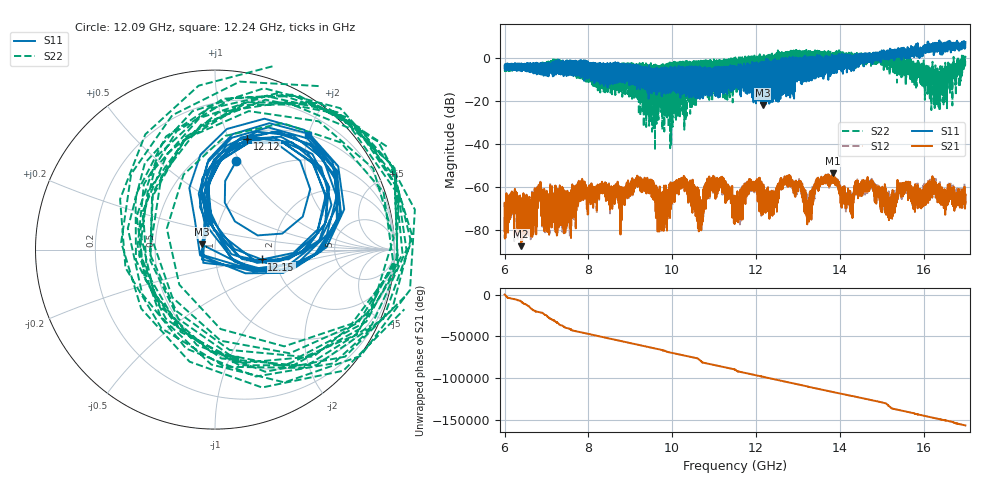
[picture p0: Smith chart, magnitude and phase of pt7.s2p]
#  HZ  S  RI  R  50.00
! Rohde & Schwarz Vector Network Analyzer
! Rohde-Schwarz,ZNA67-2Port,1332450062101215,3.01
! Created: UTC 10/26/2026, 4:12:48 PM
! freq[Hz]  re:S11  im:S11  re:S21  im:S21  re:S12  im:S12  re:S22  im:S22
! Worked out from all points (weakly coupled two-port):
!   11001 points, 6 GHz to 17 GHz, reference 50 ohm
!   highest |S21| = -53.53 dB at 13.84 GHz (marker M1); lowest = -87.5 dB at 6.395 GHz (marker M2)
!   lowest |S11| = -22.0 dB at 12.16 GHz (marker M3), VSWR 1.17, Z = 43 + j2.5 ohm
!   |S11| at or under -10 dB: 9.307976 GHz to 9.311019 GHz (3.043 MHz wide, 0.0327 % of centre); 9.680861 GHz to 9.685105 GHz (4.244 MHz wide, 0.0438 % of centre); 10.82165 GHz to 10.82604 GHz (4.394 MHz wide, 0.0406 % of centre) (the widest 3 of 423)
!   |S22| runs from -42.7 to 4.1 dB; largest |S21 - S12| = 0.0013
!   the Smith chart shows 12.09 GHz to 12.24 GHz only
!   S11 on the Smith chart (normalised r, x): 12.09 GHz: 0.73, +0.96; 12.12 GHz: 0.56, +1.17; 12.15 GHz: 1.69, -0.20; 12.24 GHz: 0.51, +1.99
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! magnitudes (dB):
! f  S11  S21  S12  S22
! 6 GHz  -4.7  -67.4  -67.5  -5.4
! 6.395 GHz  -5.9  -87.5  -82.4  -4.8
! 7.834 GHz  -1.3  -62.4  -61.8  -3.6
! 8.789 GHz  -4.0  -67.8  -68.1  -4.2
! 9.189 GHz  -4.9  -55.8  -56.0  -3.5
! 9.667 GHz  -5.9  -78.5  -77.8  -4.0
! 10.28 GHz  -6.7  -55.5  -55.2  -9.1
! 10.69 GHz  -6.2  -70.8  -70.0  -9.9
! 11.14 GHz  -18.1  -56.8  -57.3  -4.6
! 11.5 GHz  -12.2  -70.3  -71.5  -2.9
! 12.09 GHz  -5.9  -58.1  -58.6  1.4
! 12.12 GHz  -3.9  -60.8  -61.1  -1.0
! 12.15 GHz  -11.5  -60.2  -60.3  -3.2
! 12.16 GHz  -22.0  -62.3  -61.8  -0.8
! 12.24 GHz  -1.7  -63.2  -65.4  -4.2
! 12.78 GHz  -11.4  -55.2  -56.0  2.6
! 13.33 GHz  -1.7  -66.8  -66.1  -3.0
! 13.84 GHz  -0.1  -53.5  -53.6  -2.2
! 14.26 GHz  0.6  -71.5  -69.1  -2.4
! 15.17 GHz  3.0  -64.7  -65.4  -1.4
! 16.3 GHz  6.4  -63.4  -63.4  -5.4
! 17 GHz  7.5  -63.5  -63.0  0.4
